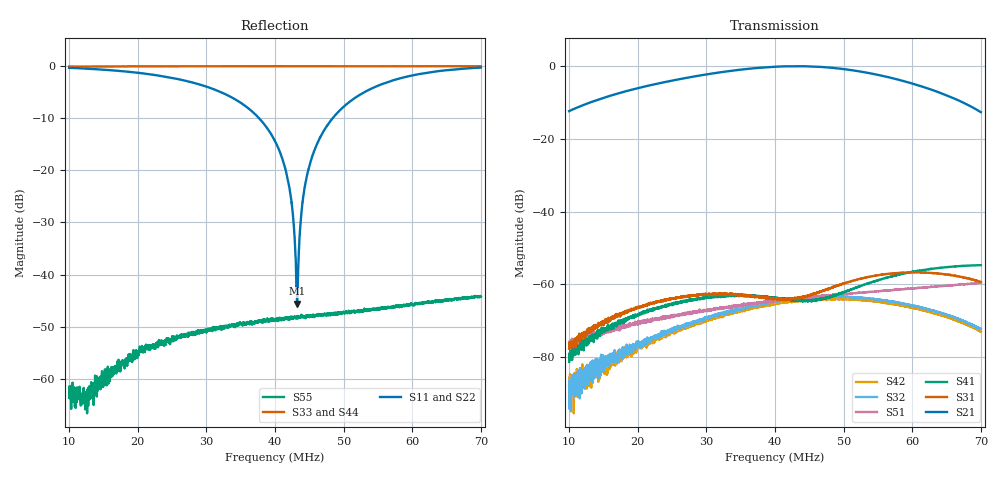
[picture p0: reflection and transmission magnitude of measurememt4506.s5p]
#  HZ  S  RI  R  50.00
! Rohde & Schwarz ZVT8 8Ports - Version 4.11 - 1300.0000k08 SN: 100242
! Date: 2026-07-06 11:37:04
! Measurements: S11 S12 S13 S14 S15 S21 S22 S23 S24 S25 S31 S32 S33 S34 S35 S41 S42 S43 S44 S45 S51 S52 S53 S54 S55
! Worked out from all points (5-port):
!   3001 points, 10 MHz to 70 MHz, reference 50 ohm
!   strongest paths, dB at 10 MHz, 25 MHz, 40 MHz, 55 MHz, 70 MHz:
!     S21: -12.4, -4.0, -0.2, -2.4, -12.7
!     S31: -77.8, -64.0, -64.0, -57.5, -59.4
!     S41: -81.4, -65.3, -63.7, -58.9, -54.7
!     S51: -75.9, -68.7, -64.6, -61.9, -59.7
!     S32: -90.0, -72.7, -65.0, -64.2, -72.2
!     S42: -87.7, -73.2, -65.2, -64.8, -73.0
!   lowest |S11| = -45.6 dB at 43.22 MHz (marker M1), VSWR 1.01, Z = 50.3 - j0.426 ohm
!   |S11| at or under -10 dB: 37.67 MHz to 48.41 MHz (10.73 MHz wide, 24.9 % of centre)
